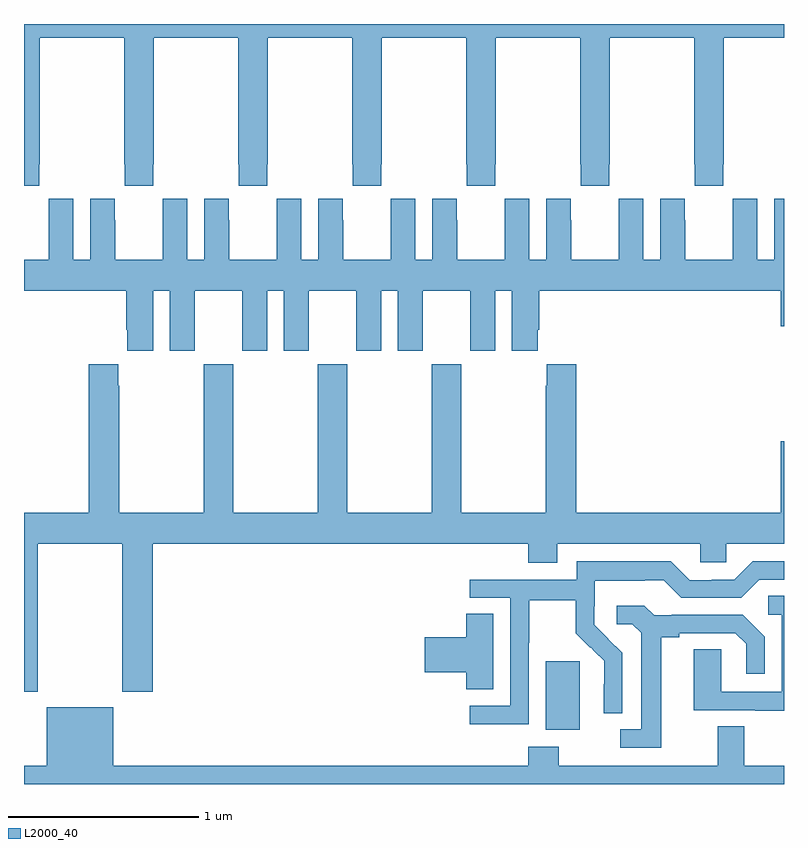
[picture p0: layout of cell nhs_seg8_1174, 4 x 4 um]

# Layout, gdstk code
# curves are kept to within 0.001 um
import gdstk
lib = gdstk.Library(unit=1e-6, precision=1e-09)
def R(c, l, rs):  # rectangles x0, y0, x1, y1
    for r in rs: c.add(gdstk.rectangle(r[:2], r[2:], *l))
def P(c, l, *ps):  # polygons
    for p in ps: c.add(gdstk.Polygon(p, *l))
L2000_40 = (2000, 40)

nhs_seg8_1174 = lib.new_cell('nhs_seg8_1174')
R(nhs_seg8_1174, L2000_40, [(187.745,1118.186,187.924,1118.547)])
P(nhs_seg8_1174, L2000_40, [(185.079,1121.161),(185.082,1121.161),(185.082,1121.828),(185.527,1121.828),(185.527,1121.161),(185.529,1121.161),(185.529,1121.049),(185.679,1121.049),(185.679,1121.161),(185.682,1121.161),(185.682,1121.828),(186.127,1121.828),(186.127,1121.161),(186.129,1121.161),(186.129,1121.049),(186.279,1121.049),(186.279,1121.161),(186.282,1121.161),(186.282,1121.828),(186.727,1121.828),(186.727,1121.161),(186.729,1121.161),(186.729,1121.049),(186.879,1121.049),(186.879,1121.161),(186.882,1121.161),(186.882,1121.828),(187.327,1121.828),(187.327,1121.161),(187.329,1121.161),(187.329,1121.049),(187.479,1121.049),(187.479,1121.161),(187.482,1121.161),(187.482,1121.828),(187.927,1121.828),(187.927,1121.161),(187.929,1121.161),(187.929,1121.049),(188.079,1121.049),(188.079,1121.161),(188.082,1121.161),(188.082,1121.828),(188.527,1121.828),(188.527,1121.161),(188.529,1121.161),(188.529,1121.049),(188.679,1121.049),(188.679,1121.161),(188.682,1121.161),(188.682,1121.828),(189,1121.828),(189,1121.9),(185,1121.9),(185,1121.049),(185.079,1121.049)],
  [(185.68,1120.496),(185.768,1120.496),(185.768,1120.179),(185.899,1120.179),(185.899,1120.496),(186.149,1120.496),(186.149,1120.179),(186.28,1120.179),(186.28,1120.496),(186.368,1120.496),(186.368,1120.179),(186.499,1120.179),(186.499,1120.496),(186.749,1120.496),(186.749,1120.179),(186.88,1120.179),(186.88,1120.496),(186.968,1120.496),(186.968,1120.179),(187.099,1120.179),(187.099,1120.496),(187.349,1120.496),(187.349,1120.179),(187.48,1120.179),(187.48,1120.496),(187.568,1120.496),(187.568,1120.179),(187.705,1120.179),(187.705,1120.291),(187.712,1120.291),(187.712,1120.496),(188.984,1120.496),(188.984,1120.308),(189,1120.308),(189,1120.981),(188.948,1120.981),(188.948,1120.66),(188.86,1120.66),(188.86,1120.981),(188.73,1120.981),(188.73,1120.868),(188.729,1120.868),(188.729,1120.66),(188.479,1120.66),(188.479,1120.868),(188.478,1120.868),(188.478,1120.981),(188.348,1120.981),(188.348,1120.66),(188.26,1120.66),(188.26,1120.981),(188.13,1120.981),(188.13,1120.868),(188.129,1120.868),(188.129,1120.66),(187.879,1120.66),(187.879,1120.868),(187.878,1120.868),(187.878,1120.981),(187.748,1120.981),(187.748,1120.66),(187.66,1120.66),(187.66,1120.981),(187.53,1120.981),(187.53,1120.868),(187.529,1120.868),(187.529,1120.66),(187.279,1120.66),(187.279,1120.868),(187.278,1120.868),(187.278,1120.981),(187.148,1120.981),(187.148,1120.66),(187.06,1120.66),(187.06,1120.981),(186.93,1120.981),(186.93,1120.868),(186.929,1120.868),(186.929,1120.66),(186.679,1120.66),(186.679,1120.868),(186.678,1120.868),(186.678,1120.981),(186.548,1120.981),(186.548,1120.66),(186.46,1120.66),(186.46,1120.981),(186.33,1120.981),(186.33,1120.868),(186.329,1120.868),(186.329,1120.66),(186.079,1120.66),(186.079,1120.868),(186.078,1120.868),(186.078,1120.981),(185.948,1120.981),(185.948,1120.66),(185.86,1120.66),(185.86,1120.981),(185.73,1120.981),(185.73,1120.868),(185.729,1120.868),(185.729,1120.66),(185.479,1120.66),(185.479,1120.868),(185.478,1120.868),(185.478,1120.981),(185.348,1120.981),(185.348,1120.66),(185.26,1120.66),(185.26,1120.981),(185.13,1120.981),(185.13,1120.868),(185.129,1120.868),(185.129,1120.66),(185,1120.66),(185,1120.496),(185.537,1120.496),(185.537,1120.291),(185.543,1120.291),(185.543,1120.179),(185.68,1120.179)],
  [(185.073,1119.164),(185.518,1119.164),(185.518,1118.385),(185.678,1118.385),(185.678,1119.164),(187.655,1119.164),(187.655,1119.065),(187.807,1119.065),(187.807,1119.164),(188.559,1119.164),(188.559,1119.066),(188.697,1119.066),(188.697,1119.164),(189,1119.164),(189,1119.703),(188.984,1119.703),(188.984,1119.328),(187.907,1119.328),(187.907,1120.108),(187.751,1120.108),(187.751,1119.995),(187.747,1119.995),(187.747,1119.328),(187.302,1119.328),(187.302,1120.108),(187.147,1120.108),(187.147,1119.328),(186.702,1119.328),(186.702,1120.108),(186.547,1120.108),(186.547,1119.328),(186.102,1119.328),(186.102,1120.108),(185.947,1120.108),(185.947,1119.328),(185.502,1119.328),(185.502,1119.995),(185.497,1119.995),(185.497,1120.108),(185.342,1120.108),(185.342,1119.328),(185,1119.328),(185,1118.385),(185.073,1118.385)],
  [(187.656,1118.644),(187.659,1118.644),(187.659,1118.868),(187.903,1118.868),(187.903,1118.693),(187.98,1118.616),(187.983,1118.619),(188.054,1118.549),(188.054,1118.426),(188.052,1118.426),(188.052,1118.272),(188.148,1118.272),(188.148,1118.59),(188.002,1118.738),(188.002,1118.835),(188.004,1118.835),(188.004,1118.969),(188.267,1118.969),(188.267,1118.973),(188.367,1118.973),(188.46,1118.88),(188.775,1118.88),(188.871,1118.976),(189,1118.976),(189,1119.072),(188.835,1119.072),(188.739,1118.976),(188.621,1118.976),(188.621,1118.973),(188.505,1118.973),(188.405,1119.073),(187.908,1119.073),(187.908,1118.976),(187.347,1118.976),(187.347,1118.88),(187.56,1118.88),(187.56,1118.313),(187.347,1118.313),(187.347,1118.215),(187.656,1118.215)],
  [(189,1118.891),(188.916,1118.891),(188.916,1118.79),(188.988,1118.79),(188.988,1118.385),(188.67,1118.385),(188.67,1118.609),(188.525,1118.609),(188.525,1118.289),(188.849,1118.289),(188.849,1118.285),(189,1118.285)],
  [(188.353,1118.672),(188.449,1118.672),(188.449,1118.694),(188.744,1118.694),(188.801,1118.637),(188.801,1118.481),(188.898,1118.481),(188.898,1118.674),(188.782,1118.79),(188.41,1118.79),(188.41,1118.787),(188.316,1118.787),(188.264,1118.839),(188.121,1118.839),(188.121,1118.742),(188.202,1118.742),(188.249,1118.695),(188.249,1118.187),(188.139,1118.187),(188.139,1118.091),(188.353,1118.091)],
  [(187.471,1118.795),(187.328,1118.795),(187.328,1118.672),(187.11,1118.672),(187.11,1118.489),(187.328,1118.489),(187.328,1118.398),(187.471,1118.398)],
  [(189,1117.996),(188.791,1117.996),(188.791,1118.204),(188.651,1118.204),(188.651,1117.996),(187.815,1117.996),(187.815,1118.095),(187.655,1118.095),(187.655,1117.996),(185.47,1117.996),(185.47,1118.305),(185.12,1118.305),(185.12,1117.996),(185,1117.996),(185,1117.9),(189,1117.9)])

lib.write_gds('nhs_seg8_1174.gds')
